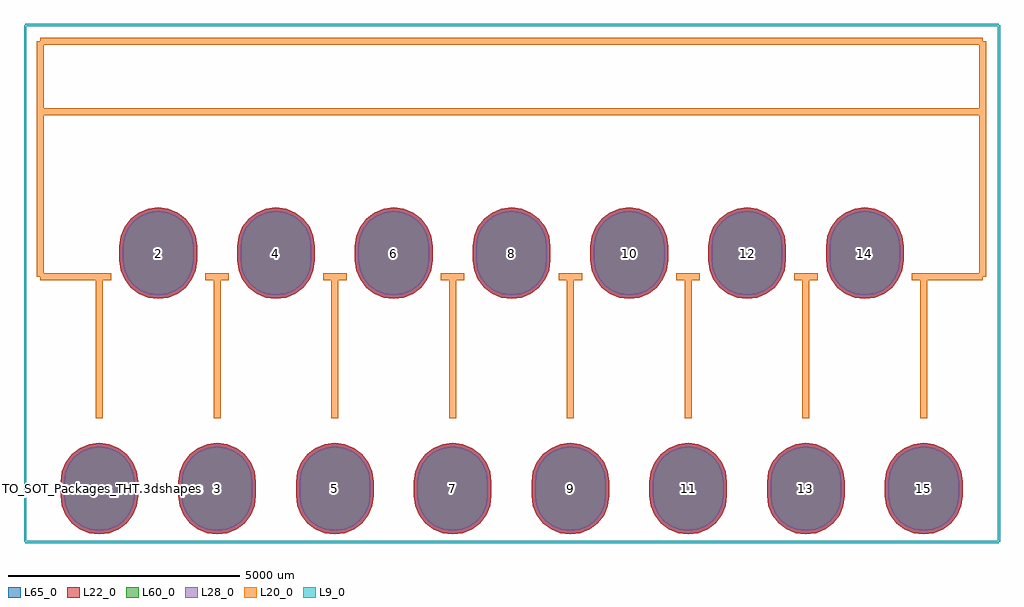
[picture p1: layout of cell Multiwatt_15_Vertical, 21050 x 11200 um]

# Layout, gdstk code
import gdstk
lib = gdstk.Library(unit=1e-6, precision=1e-09)
def P(c, l, *ps):  # polygons
    for p in ps: c.add(gdstk.Polygon(p, *l))
L9_0 = (9, 0)
L20_0 = (20, 0)
L22_0 = (22, 0)
L28_0 = (28, 0)
L60_0 = (60, 0)
L65_0 = (65, 0)

multiwatt_15_vertical = lib.new_cell('Multiwatt_15_Vertical')
P(multiwatt_15_vertical, L22_0, [(17780,-987),(17996.632,-958.48),(18198.5,-874.863),(18371.848,-741.848),(18504.863,-568.5),(18588.48,-366.632),(18617,-150),(18617,150),(18588.48,366.632),(18504.863,568.5),(18371.848,741.848),(18198.5,874.863),(17996.632,958.48),(17780,987),(17563.368,958.48),(17361.5,874.863),(17188.152,741.848),(17055.137,568.5),(16971.52,366.632),(16943,150),(16943,-150),(16971.52,-366.632),(17055.137,-568.5),(17188.152,-741.848),(17361.5,-874.863),(17563.368,-958.48)],
  [(16510,4093),(16726.632,4121.52),(16928.5,4205.137),(17101.848,4338.152),(17234.863,4511.5),(17318.48,4713.368),(17347,4930),(17347,5230),(17318.48,5446.632),(17234.863,5648.5),(17101.848,5821.848),(16928.5,5954.863),(16726.632,6038.48),(16510,6067),(16293.368,6038.48),(16091.5,5954.863),(15918.152,5821.848),(15785.137,5648.5),(15701.52,5446.632),(15673,5230),(15673,4930),(15701.52,4713.368),(15785.137,4511.5),(15918.152,4338.152),(16091.5,4205.137),(16293.368,4121.52)],
  [(15240,-987),(15456.632,-958.48),(15658.5,-874.863),(15831.848,-741.848),(15964.863,-568.5),(16048.48,-366.632),(16077,-150),(16077,150),(16048.48,366.632),(15964.863,568.5),(15831.848,741.848),(15658.5,874.863),(15456.632,958.48),(15240,987),(15023.368,958.48),(14821.5,874.863),(14648.152,741.848),(14515.137,568.5),(14431.52,366.632),(14403,150),(14403,-150),(14431.52,-366.632),(14515.137,-568.5),(14648.152,-741.848),(14821.5,-874.863),(15023.368,-958.48)],
  [(13970,4093),(14186.632,4121.52),(14388.5,4205.137),(14561.848,4338.152),(14694.863,4511.5),(14778.48,4713.368),(14807,4930),(14807,5230),(14778.48,5446.632),(14694.863,5648.5),(14561.848,5821.848),(14388.5,5954.863),(14186.632,6038.48),(13970,6067),(13753.368,6038.48),(13551.5,5954.863),(13378.152,5821.848),(13245.137,5648.5),(13161.52,5446.632),(13133,5230),(13133,4930),(13161.52,4713.368),(13245.137,4511.5),(13378.152,4338.152),(13551.5,4205.137),(13753.368,4121.52)],
  [(12700,-987),(12916.632,-958.48),(13118.5,-874.863),(13291.848,-741.848),(13424.863,-568.5),(13508.48,-366.632),(13537,-150),(13537,150),(13508.48,366.632),(13424.863,568.5),(13291.848,741.848),(13118.5,874.863),(12916.632,958.48),(12700,987),(12483.368,958.48),(12281.5,874.863),(12108.152,741.848),(11975.137,568.5),(11891.52,366.632),(11863,150),(11863,-150),(11891.52,-366.632),(11975.137,-568.5),(12108.152,-741.848),(12281.5,-874.863),(12483.368,-958.48)],
  [(11430,4093),(11646.632,4121.52),(11848.5,4205.137),(12021.848,4338.152),(12154.863,4511.5),(12238.48,4713.368),(12267,4930),(12267,5230),(12238.48,5446.632),(12154.863,5648.5),(12021.848,5821.848),(11848.5,5954.863),(11646.632,6038.48),(11430,6067),(11213.368,6038.48),(11011.5,5954.863),(10838.152,5821.848),(10705.137,5648.5),(10621.52,5446.632),(10593,5230),(10593,4930),(10621.52,4713.368),(10705.137,4511.5),(10838.152,4338.152),(11011.5,4205.137),(11213.368,4121.52)],
  [(10160,-987),(10376.632,-958.48),(10578.5,-874.863),(10751.848,-741.848),(10884.863,-568.5),(10968.48,-366.632),(10997,-150),(10997,150),(10968.48,366.632),(10884.863,568.5),(10751.848,741.848),(10578.5,874.863),(10376.632,958.48),(10160,987),(9943.368,958.48),(9741.5,874.863),(9568.152,741.848),(9435.137,568.5),(9351.52,366.632),(9323,150),(9323,-150),(9351.52,-366.632),(9435.137,-568.5),(9568.152,-741.848),(9741.5,-874.863),(9943.368,-958.48)],
  [(8890,4093),(9106.632,4121.52),(9308.5,4205.137),(9481.848,4338.152),(9614.863,4511.5),(9698.48,4713.368),(9727,4930),(9727,5230),(9698.48,5446.632),(9614.863,5648.5),(9481.848,5821.848),(9308.5,5954.863),(9106.632,6038.48),(8890,6067),(8673.368,6038.48),(8471.5,5954.863),(8298.152,5821.848),(8165.137,5648.5),(8081.52,5446.632),(8053,5230),(8053,4930),(8081.52,4713.368),(8165.137,4511.5),(8298.152,4338.152),(8471.5,4205.137),(8673.368,4121.52)],
  [(7620,-987),(7836.632,-958.48),(8038.5,-874.863),(8211.848,-741.848),(8344.863,-568.5),(8428.48,-366.632),(8457,-150),(8457,150),(8428.48,366.632),(8344.863,568.5),(8211.848,741.848),(8038.5,874.863),(7836.632,958.48),(7620,987),(7403.368,958.48),(7201.5,874.863),(7028.152,741.848),(6895.137,568.5),(6811.52,366.632),(6783,150),(6783,-150),(6811.52,-366.632),(6895.137,-568.5),(7028.152,-741.848),(7201.5,-874.863),(7403.368,-958.48)],
  [(6350,4093),(6566.632,4121.52),(6768.5,4205.137),(6941.848,4338.152),(7074.863,4511.5),(7158.48,4713.368),(7187,4930),(7187,5230),(7158.48,5446.632),(7074.863,5648.5),(6941.848,5821.848),(6768.5,5954.863),(6566.632,6038.48),(6350,6067),(6133.368,6038.48),(5931.5,5954.863),(5758.152,5821.848),(5625.137,5648.5),(5541.52,5446.632),(5513,5230),(5513,4930),(5541.52,4713.368),(5625.137,4511.5),(5758.152,4338.152),(5931.5,4205.137),(6133.368,4121.52)],
  [(5080,-987),(5296.632,-958.48),(5498.5,-874.863),(5671.848,-741.848),(5804.863,-568.5),(5888.48,-366.632),(5917,-150),(5917,150),(5888.48,366.632),(5804.863,568.5),(5671.848,741.848),(5498.5,874.863),(5296.632,958.48),(5080,987),(4863.368,958.48),(4661.5,874.863),(4488.152,741.848),(4355.137,568.5),(4271.52,366.632),(4243,150),(4243,-150),(4271.52,-366.632),(4355.137,-568.5),(4488.152,-741.848),(4661.5,-874.863),(4863.368,-958.48)],
  [(3810,4093),(4026.632,4121.52),(4228.5,4205.137),(4401.848,4338.152),(4534.863,4511.5),(4618.48,4713.368),(4647,4930),(4647,5230),(4618.48,5446.632),(4534.863,5648.5),(4401.848,5821.848),(4228.5,5954.863),(4026.632,6038.48),(3810,6067),(3593.368,6038.48),(3391.5,5954.863),(3218.152,5821.848),(3085.137,5648.5),(3001.52,5446.632),(2973,5230),(2973,4930),(3001.52,4713.368),(3085.137,4511.5),(3218.152,4338.152),(3391.5,4205.137),(3593.368,4121.52)],
  [(2540,-987),(2756.632,-958.48),(2958.5,-874.863),(3131.848,-741.848),(3264.863,-568.5),(3348.48,-366.632),(3377,-150),(3377,150),(3348.48,366.632),(3264.863,568.5),(3131.848,741.848),(2958.5,874.863),(2756.632,958.48),(2540,987),(2323.368,958.48),(2121.5,874.863),(1948.152,741.848),(1815.137,568.5),(1731.52,366.632),(1703,150),(1703,-150),(1731.52,-366.632),(1815.137,-568.5),(1948.152,-741.848),(2121.5,-874.863),(2323.368,-958.48)],
  [(1270,4093),(1486.632,4121.52),(1688.5,4205.137),(1861.848,4338.152),(1994.863,4511.5),(2078.48,4713.368),(2107,4930),(2107,5230),(2078.48,5446.632),(1994.863,5648.5),(1861.848,5821.848),(1688.5,5954.863),(1486.632,6038.48),(1270,6067),(1053.368,6038.48),(851.5,5954.863),(678.152,5821.848),(545.137,5648.5),(461.52,5446.632),(433,5230),(433,4930),(461.52,4713.368),(545.137,4511.5),(678.152,4338.152),(851.5,4205.137),(1053.368,4121.52)],
  [(0,-987),(216.632,-958.48),(418.5,-874.863),(591.848,-741.848),(724.863,-568.5),(808.48,-366.632),(837,-150),(837,150),(808.48,366.632),(724.863,568.5),(591.848,741.848),(418.5,874.863),(216.632,958.48),(0,987),(-216.632,958.48),(-418.5,874.863),(-591.848,741.848),(-724.863,568.5),(-808.48,366.632),(-837,150),(-837,-150),(-808.48,-366.632),(-724.863,-568.5),(-591.848,-741.848),(-418.5,-874.863),(-216.632,-958.48)])
P(multiwatt_15_vertical, L28_0, [(17780,-912),(17977.22,-886.035),(18161,-809.911),(18318.815,-688.815),(18439.911,-531),(18516.035,-347.22),(18542,-150),(18542,150),(18516.035,347.22),(18439.911,531),(18318.815,688.815),(18161,809.911),(17977.22,886.035),(17780,912),(17582.78,886.035),(17399,809.911),(17241.185,688.815),(17120.089,531),(17043.965,347.22),(17018,150),(17018,-150),(17043.965,-347.22),(17120.089,-531),(17241.185,-688.815),(17399,-809.911),(17582.78,-886.035)],
  [(16510,4168),(16707.22,4193.965),(16891,4270.089),(17048.815,4391.185),(17169.911,4549),(17246.035,4732.78),(17272,4930),(17272,5230),(17246.035,5427.22),(17169.911,5611),(17048.815,5768.815),(16891,5889.911),(16707.22,5966.035),(16510,5992),(16312.78,5966.035),(16129,5889.911),(15971.185,5768.815),(15850.089,5611),(15773.965,5427.22),(15748,5230),(15748,4930),(15773.965,4732.78),(15850.089,4549),(15971.185,4391.185),(16129,4270.089),(16312.78,4193.965)],
  [(15240,-912),(15437.22,-886.035),(15621,-809.911),(15778.815,-688.815),(15899.911,-531),(15976.035,-347.22),(16002,-150),(16002,150),(15976.035,347.22),(15899.911,531),(15778.815,688.815),(15621,809.911),(15437.22,886.035),(15240,912),(15042.78,886.035),(14859,809.911),(14701.185,688.815),(14580.089,531),(14503.965,347.22),(14478,150),(14478,-150),(14503.965,-347.22),(14580.089,-531),(14701.185,-688.815),(14859,-809.911),(15042.78,-886.035)],
  [(13970,4168),(14167.22,4193.965),(14351,4270.089),(14508.815,4391.185),(14629.911,4549),(14706.035,4732.78),(14732,4930),(14732,5230),(14706.035,5427.22),(14629.911,5611),(14508.815,5768.815),(14351,5889.911),(14167.22,5966.035),(13970,5992),(13772.78,5966.035),(13589,5889.911),(13431.185,5768.815),(13310.089,5611),(13233.965,5427.22),(13208,5230),(13208,4930),(13233.965,4732.78),(13310.089,4549),(13431.185,4391.185),(13589,4270.089),(13772.78,4193.965)],
  [(12700,-912),(12897.22,-886.035),(13081,-809.911),(13238.815,-688.815),(13359.911,-531),(13436.035,-347.22),(13462,-150),(13462,150),(13436.035,347.22),(13359.911,531),(13238.815,688.815),(13081,809.911),(12897.22,886.035),(12700,912),(12502.78,886.035),(12319,809.911),(12161.185,688.815),(12040.089,531),(11963.965,347.22),(11938,150),(11938,-150),(11963.965,-347.22),(12040.089,-531),(12161.185,-688.815),(12319,-809.911),(12502.78,-886.035)],
  [(11430,4168),(11627.22,4193.965),(11811,4270.089),(11968.815,4391.185),(12089.911,4549),(12166.035,4732.78),(12192,4930),(12192,5230),(12166.035,5427.22),(12089.911,5611),(11968.815,5768.815),(11811,5889.911),(11627.22,5966.035),(11430,5992),(11232.78,5966.035),(11049,5889.911),(10891.185,5768.815),(10770.089,5611),(10693.965,5427.22),(10668,5230),(10668,4930),(10693.965,4732.78),(10770.089,4549),(10891.185,4391.185),(11049,4270.089),(11232.78,4193.965)],
  [(10160,-912),(10357.22,-886.035),(10541,-809.911),(10698.815,-688.815),(10819.911,-531),(10896.035,-347.22),(10922,-150),(10922,150),(10896.035,347.22),(10819.911,531),(10698.815,688.815),(10541,809.911),(10357.22,886.035),(10160,912),(9962.78,886.035),(9779,809.911),(9621.185,688.815),(9500.089,531),(9423.965,347.22),(9398,150),(9398,-150),(9423.965,-347.22),(9500.089,-531),(9621.185,-688.815),(9779,-809.911),(9962.78,-886.035)],
  [(8890,4168),(9087.22,4193.965),(9271,4270.089),(9428.815,4391.185),(9549.911,4549),(9626.035,4732.78),(9652,4930),(9652,5230),(9626.035,5427.22),(9549.911,5611),(9428.815,5768.815),(9271,5889.911),(9087.22,5966.035),(8890,5992),(8692.78,5966.035),(8509,5889.911),(8351.185,5768.815),(8230.089,5611),(8153.965,5427.22),(8128,5230),(8128,4930),(8153.965,4732.78),(8230.089,4549),(8351.185,4391.185),(8509,4270.089),(8692.78,4193.965)],
  [(7620,-912),(7817.22,-886.035),(8001,-809.911),(8158.815,-688.815),(8279.911,-531),(8356.035,-347.22),(8382,-150),(8382,150),(8356.035,347.22),(8279.911,531),(8158.815,688.815),(8001,809.911),(7817.22,886.035),(7620,912),(7422.78,886.035),(7239,809.911),(7081.185,688.815),(6960.089,531),(6883.965,347.22),(6858,150),(6858,-150),(6883.965,-347.22),(6960.089,-531),(7081.185,-688.815),(7239,-809.911),(7422.78,-886.035)],
  [(6350,4168),(6547.22,4193.965),(6731,4270.089),(6888.815,4391.185),(7009.911,4549),(7086.035,4732.78),(7112,4930),(7112,5230),(7086.035,5427.22),(7009.911,5611),(6888.815,5768.815),(6731,5889.911),(6547.22,5966.035),(6350,5992),(6152.78,5966.035),(5969,5889.911),(5811.185,5768.815),(5690.089,5611),(5613.965,5427.22),(5588,5230),(5588,4930),(5613.965,4732.78),(5690.089,4549),(5811.185,4391.185),(5969,4270.089),(6152.78,4193.965)],
  [(5080,-912),(5277.22,-886.035),(5461,-809.911),(5618.815,-688.815),(5739.911,-531),(5816.035,-347.22),(5842,-150),(5842,150),(5816.035,347.22),(5739.911,531),(5618.815,688.815),(5461,809.911),(5277.22,886.035),(5080,912),(4882.78,886.035),(4699,809.911),(4541.185,688.815),(4420.089,531),(4343.965,347.22),(4318,150),(4318,-150),(4343.965,-347.22),(4420.089,-531),(4541.185,-688.815),(4699,-809.911),(4882.78,-886.035)],
  [(3810,4168),(4007.22,4193.965),(4191,4270.089),(4348.815,4391.185),(4469.911,4549),(4546.035,4732.78),(4572,4930),(4572,5230),(4546.035,5427.22),(4469.911,5611),(4348.815,5768.815),(4191,5889.911),(4007.22,5966.035),(3810,5992),(3612.78,5966.035),(3429,5889.911),(3271.185,5768.815),(3150.089,5611),(3073.965,5427.22),(3048,5230),(3048,4930),(3073.965,4732.78),(3150.089,4549),(3271.185,4391.185),(3429,4270.089),(3612.78,4193.965)],
  [(2540,-912),(2737.22,-886.035),(2921,-809.911),(3078.815,-688.815),(3199.911,-531),(3276.035,-347.22),(3302,-150),(3302,150),(3276.035,347.22),(3199.911,531),(3078.815,688.815),(2921,809.911),(2737.22,886.035),(2540,912),(2342.78,886.035),(2159,809.911),(2001.185,688.815),(1880.089,531),(1803.965,347.22),(1778,150),(1778,-150),(1803.965,-347.22),(1880.089,-531),(2001.185,-688.815),(2159,-809.911),(2342.78,-886.035)],
  [(1270,4168),(1467.22,4193.965),(1651,4270.089),(1808.815,4391.185),(1929.911,4549),(2006.035,4732.78),(2032,4930),(2032,5230),(2006.035,5427.22),(1929.911,5611),(1808.815,5768.815),(1651,5889.911),(1467.22,5966.035),(1270,5992),(1072.78,5966.035),(889,5889.911),(731.185,5768.815),(610.089,5611),(533.965,5427.22),(508,5230),(508,4930),(533.965,4732.78),(610.089,4549),(731.185,4391.185),(889,4270.089),(1072.78,4193.965)],
  [(0,-912),(197.22,-886.035),(381,-809.911),(538.815,-688.815),(659.911,-531),(736.035,-347.22),(762,-150),(762,150),(736.035,347.22),(659.911,531),(538.815,688.815),(381,809.911),(197.22,886.035),(0,912),(-197.22,886.035),(-381,809.911),(-538.815,688.815),(-659.911,531),(-736.035,347.22),(-762,150),(-762,-150),(-736.035,-347.22),(-659.911,-531),(-538.815,-688.815),(-381,-809.911),(-197.22,-886.035)])
P(multiwatt_15_vertical, L60_0, [(17780,-912),(17977.22,-886.035),(18161,-809.911),(18318.815,-688.815),(18439.911,-531),(18516.035,-347.22),(18542,-150),(18542,150),(18516.035,347.22),(18439.911,531),(18318.815,688.815),(18161,809.911),(17977.22,886.035),(17780,912),(17582.78,886.035),(17399,809.911),(17241.185,688.815),(17120.089,531),(17043.965,347.22),(17018,150),(17018,-150),(17043.965,-347.22),(17120.089,-531),(17241.185,-688.815),(17399,-809.911),(17582.78,-886.035)],
  [(16510,4168),(16707.22,4193.965),(16891,4270.089),(17048.815,4391.185),(17169.911,4549),(17246.035,4732.78),(17272,4930),(17272,5230),(17246.035,5427.22),(17169.911,5611),(17048.815,5768.815),(16891,5889.911),(16707.22,5966.035),(16510,5992),(16312.78,5966.035),(16129,5889.911),(15971.185,5768.815),(15850.089,5611),(15773.965,5427.22),(15748,5230),(15748,4930),(15773.965,4732.78),(15850.089,4549),(15971.185,4391.185),(16129,4270.089),(16312.78,4193.965)],
  [(15240,-912),(15437.22,-886.035),(15621,-809.911),(15778.815,-688.815),(15899.911,-531),(15976.035,-347.22),(16002,-150),(16002,150),(15976.035,347.22),(15899.911,531),(15778.815,688.815),(15621,809.911),(15437.22,886.035),(15240,912),(15042.78,886.035),(14859,809.911),(14701.185,688.815),(14580.089,531),(14503.965,347.22),(14478,150),(14478,-150),(14503.965,-347.22),(14580.089,-531),(14701.185,-688.815),(14859,-809.911),(15042.78,-886.035)],
  [(13970,4168),(14167.22,4193.965),(14351,4270.089),(14508.815,4391.185),(14629.911,4549),(14706.035,4732.78),(14732,4930),(14732,5230),(14706.035,5427.22),(14629.911,5611),(14508.815,5768.815),(14351,5889.911),(14167.22,5966.035),(13970,5992),(13772.78,5966.035),(13589,5889.911),(13431.185,5768.815),(13310.089,5611),(13233.965,5427.22),(13208,5230),(13208,4930),(13233.965,4732.78),(13310.089,4549),(13431.185,4391.185),(13589,4270.089),(13772.78,4193.965)],
  [(12700,-912),(12897.22,-886.035),(13081,-809.911),(13238.815,-688.815),(13359.911,-531),(13436.035,-347.22),(13462,-150),(13462,150),(13436.035,347.22),(13359.911,531),(13238.815,688.815),(13081,809.911),(12897.22,886.035),(12700,912),(12502.78,886.035),(12319,809.911),(12161.185,688.815),(12040.089,531),(11963.965,347.22),(11938,150),(11938,-150),(11963.965,-347.22),(12040.089,-531),(12161.185,-688.815),(12319,-809.911),(12502.78,-886.035)],
  [(11430,4168),(11627.22,4193.965),(11811,4270.089),(11968.815,4391.185),(12089.911,4549),(12166.035,4732.78),(12192,4930),(12192,5230),(12166.035,5427.22),(12089.911,5611),(11968.815,5768.815),(11811,5889.911),(11627.22,5966.035),(11430,5992),(11232.78,5966.035),(11049,5889.911),(10891.185,5768.815),(10770.089,5611),(10693.965,5427.22),(10668,5230),(10668,4930),(10693.965,4732.78),(10770.089,4549),(10891.185,4391.185),(11049,4270.089),(11232.78,4193.965)],
  [(10160,-912),(10357.22,-886.035),(10541,-809.911),(10698.815,-688.815),(10819.911,-531),(10896.035,-347.22),(10922,-150),(10922,150),(10896.035,347.22),(10819.911,531),(10698.815,688.815),(10541,809.911),(10357.22,886.035),(10160,912),(9962.78,886.035),(9779,809.911),(9621.185,688.815),(9500.089,531),(9423.965,347.22),(9398,150),(9398,-150),(9423.965,-347.22),(9500.089,-531),(9621.185,-688.815),(9779,-809.911),(9962.78,-886.035)],
  [(8890,4168),(9087.22,4193.965),(9271,4270.089),(9428.815,4391.185),(9549.911,4549),(9626.035,4732.78),(9652,4930),(9652,5230),(9626.035,5427.22),(9549.911,5611),(9428.815,5768.815),(9271,5889.911),(9087.22,5966.035),(8890,5992),(8692.78,5966.035),(8509,5889.911),(8351.185,5768.815),(8230.089,5611),(8153.965,5427.22),(8128,5230),(8128,4930),(8153.965,4732.78),(8230.089,4549),(8351.185,4391.185),(8509,4270.089),(8692.78,4193.965)],
  [(7620,-912),(7817.22,-886.035),(8001,-809.911),(8158.815,-688.815),(8279.911,-531),(8356.035,-347.22),(8382,-150),(8382,150),(8356.035,347.22),(8279.911,531),(8158.815,688.815),(8001,809.911),(7817.22,886.035),(7620,912),(7422.78,886.035),(7239,809.911),(7081.185,688.815),(6960.089,531),(6883.965,347.22),(6858,150),(6858,-150),(6883.965,-347.22),(6960.089,-531),(7081.185,-688.815),(7239,-809.911),(7422.78,-886.035)],
  [(6350,4168),(6547.22,4193.965),(6731,4270.089),(6888.815,4391.185),(7009.911,4549),(7086.035,4732.78),(7112,4930),(7112,5230),(7086.035,5427.22),(7009.911,5611),(6888.815,5768.815),(6731,5889.911),(6547.22,5966.035),(6350,5992),(6152.78,5966.035),(5969,5889.911),(5811.185,5768.815),(5690.089,5611),(5613.965,5427.22),(5588,5230),(5588,4930),(5613.965,4732.78),(5690.089,4549),(5811.185,4391.185),(5969,4270.089),(6152.78,4193.965)],
  [(5080,-912),(5277.22,-886.035),(5461,-809.911),(5618.815,-688.815),(5739.911,-531),(5816.035,-347.22),(5842,-150),(5842,150),(5816.035,347.22),(5739.911,531),(5618.815,688.815),(5461,809.911),(5277.22,886.035),(5080,912),(4882.78,886.035),(4699,809.911),(4541.185,688.815),(4420.089,531),(4343.965,347.22),(4318,150),(4318,-150),(4343.965,-347.22),(4420.089,-531),(4541.185,-688.815),(4699,-809.911),(4882.78,-886.035)],
  [(3810,4168),(4007.22,4193.965),(4191,4270.089),(4348.815,4391.185),(4469.911,4549),(4546.035,4732.78),(4572,4930),(4572,5230),(4546.035,5427.22),(4469.911,5611),(4348.815,5768.815),(4191,5889.911),(4007.22,5966.035),(3810,5992),(3612.78,5966.035),(3429,5889.911),(3271.185,5768.815),(3150.089,5611),(3073.965,5427.22),(3048,5230),(3048,4930),(3073.965,4732.78),(3150.089,4549),(3271.185,4391.185),(3429,4270.089),(3612.78,4193.965)],
  [(2540,-912),(2737.22,-886.035),(2921,-809.911),(3078.815,-688.815),(3199.911,-531),(3276.035,-347.22),(3302,-150),(3302,150),(3276.035,347.22),(3199.911,531),(3078.815,688.815),(2921,809.911),(2737.22,886.035),(2540,912),(2342.78,886.035),(2159,809.911),(2001.185,688.815),(1880.089,531),(1803.965,347.22),(1778,150),(1778,-150),(1803.965,-347.22),(1880.089,-531),(2001.185,-688.815),(2159,-809.911),(2342.78,-886.035)],
  [(1270,4168),(1467.22,4193.965),(1651,4270.089),(1808.815,4391.185),(1929.911,4549),(2006.035,4732.78),(2032,4930),(2032,5230),(2006.035,5427.22),(1929.911,5611),(1808.815,5768.815),(1651,5889.911),(1467.22,5966.035),(1270,5992),(1072.78,5966.035),(889,5889.911),(731.185,5768.815),(610.089,5611),(533.965,5427.22),(508,5230),(508,4930),(533.965,4732.78),(610.089,4549),(731.185,4391.185),(889,4270.089),(1072.78,4193.965)],
  [(0,-912),(197.22,-886.035),(381,-809.911),(538.815,-688.815),(659.911,-531),(736.035,-347.22),(762,-150),(762,150),(736.035,347.22),(659.911,531),(538.815,688.815),(381,809.911),(197.22,886.035),(0,912),(-197.22,886.035),(-381,809.911),(-538.815,688.815),(-659.911,531),(-736.035,347.22),(-762,150),(-762,-150),(-736.035,-347.22),(-659.911,-531),(-538.815,-688.815),(-381,-809.911),(-197.22,-886.035)])
P(multiwatt_15_vertical, L65_0, [(17780,-987),(17996.632,-958.48),(18198.5,-874.863),(18371.848,-741.848),(18504.863,-568.5),(18588.48,-366.632),(18617,-150),(18617,150),(18588.48,366.632),(18504.863,568.5),(18371.848,741.848),(18198.5,874.863),(17996.632,958.48),(17780,987),(17563.368,958.48),(17361.5,874.863),(17188.152,741.848),(17055.137,568.5),(16971.52,366.632),(16943,150),(16943,-150),(16971.52,-366.632),(17055.137,-568.5),(17188.152,-741.848),(17361.5,-874.863),(17563.368,-958.48)],
  [(16510,4093),(16726.632,4121.52),(16928.5,4205.137),(17101.848,4338.152),(17234.863,4511.5),(17318.48,4713.368),(17347,4930),(17347,5230),(17318.48,5446.632),(17234.863,5648.5),(17101.848,5821.848),(16928.5,5954.863),(16726.632,6038.48),(16510,6067),(16293.368,6038.48),(16091.5,5954.863),(15918.152,5821.848),(15785.137,5648.5),(15701.52,5446.632),(15673,5230),(15673,4930),(15701.52,4713.368),(15785.137,4511.5),(15918.152,4338.152),(16091.5,4205.137),(16293.368,4121.52)],
  [(15240,-987),(15456.632,-958.48),(15658.5,-874.863),(15831.848,-741.848),(15964.863,-568.5),(16048.48,-366.632),(16077,-150),(16077,150),(16048.48,366.632),(15964.863,568.5),(15831.848,741.848),(15658.5,874.863),(15456.632,958.48),(15240,987),(15023.368,958.48),(14821.5,874.863),(14648.152,741.848),(14515.137,568.5),(14431.52,366.632),(14403,150),(14403,-150),(14431.52,-366.632),(14515.137,-568.5),(14648.152,-741.848),(14821.5,-874.863),(15023.368,-958.48)],
  [(13970,4093),(14186.632,4121.52),(14388.5,4205.137),(14561.848,4338.152),(14694.863,4511.5),(14778.48,4713.368),(14807,4930),(14807,5230),(14778.48,5446.632),(14694.863,5648.5),(14561.848,5821.848),(14388.5,5954.863),(14186.632,6038.48),(13970,6067),(13753.368,6038.48),(13551.5,5954.863),(13378.152,5821.848),(13245.137,5648.5),(13161.52,5446.632),(13133,5230),(13133,4930),(13161.52,4713.368),(13245.137,4511.5),(13378.152,4338.152),(13551.5,4205.137),(13753.368,4121.52)],
  [(12700,-987),(12916.632,-958.48),(13118.5,-874.863),(13291.848,-741.848),(13424.863,-568.5),(13508.48,-366.632),(13537,-150),(13537,150),(13508.48,366.632),(13424.863,568.5),(13291.848,741.848),(13118.5,874.863),(12916.632,958.48),(12700,987),(12483.368,958.48),(12281.5,874.863),(12108.152,741.848),(11975.137,568.5),(11891.52,366.632),(11863,150),(11863,-150),(11891.52,-366.632),(11975.137,-568.5),(12108.152,-741.848),(12281.5,-874.863),(12483.368,-958.48)],
  [(11430,4093),(11646.632,4121.52),(11848.5,4205.137),(12021.848,4338.152),(12154.863,4511.5),(12238.48,4713.368),(12267,4930),(12267,5230),(12238.48,5446.632),(12154.863,5648.5),(12021.848,5821.848),(11848.5,5954.863),(11646.632,6038.48),(11430,6067),(11213.368,6038.48),(11011.5,5954.863),(10838.152,5821.848),(10705.137,5648.5),(10621.52,5446.632),(10593,5230),(10593,4930),(10621.52,4713.368),(10705.137,4511.5),(10838.152,4338.152),(11011.5,4205.137),(11213.368,4121.52)],
  [(10160,-987),(10376.632,-958.48),(10578.5,-874.863),(10751.848,-741.848),(10884.863,-568.5),(10968.48,-366.632),(10997,-150),(10997,150),(10968.48,366.632),(10884.863,568.5),(10751.848,741.848),(10578.5,874.863),(10376.632,958.48),(10160,987),(9943.368,958.48),(9741.5,874.863),(9568.152,741.848),(9435.137,568.5),(9351.52,366.632),(9323,150),(9323,-150),(9351.52,-366.632),(9435.137,-568.5),(9568.152,-741.848),(9741.5,-874.863),(9943.368,-958.48)],
  [(8890,4093),(9106.632,4121.52),(9308.5,4205.137),(9481.848,4338.152),(9614.863,4511.5),(9698.48,4713.368),(9727,4930),(9727,5230),(9698.48,5446.632),(9614.863,5648.5),(9481.848,5821.848),(9308.5,5954.863),(9106.632,6038.48),(8890,6067),(8673.368,6038.48),(8471.5,5954.863),(8298.152,5821.848),(8165.137,5648.5),(8081.52,5446.632),(8053,5230),(8053,4930),(8081.52,4713.368),(8165.137,4511.5),(8298.152,4338.152),(8471.5,4205.137),(8673.368,4121.52)],
  [(7620,-987),(7836.632,-958.48),(8038.5,-874.863),(8211.848,-741.848),(8344.863,-568.5),(8428.48,-366.632),(8457,-150),(8457,150),(8428.48,366.632),(8344.863,568.5),(8211.848,741.848),(8038.5,874.863),(7836.632,958.48),(7620,987),(7403.368,958.48),(7201.5,874.863),(7028.152,741.848),(6895.137,568.5),(6811.52,366.632),(6783,150),(6783,-150),(6811.52,-366.632),(6895.137,-568.5),(7028.152,-741.848),(7201.5,-874.863),(7403.368,-958.48)],
  [(6350,4093),(6566.632,4121.52),(6768.5,4205.137),(6941.848,4338.152),(7074.863,4511.5),(7158.48,4713.368),(7187,4930),(7187,5230),(7158.48,5446.632),(7074.863,5648.5),(6941.848,5821.848),(6768.5,5954.863),(6566.632,6038.48),(6350,6067),(6133.368,6038.48),(5931.5,5954.863),(5758.152,5821.848),(5625.137,5648.5),(5541.52,5446.632),(5513,5230),(5513,4930),(5541.52,4713.368),(5625.137,4511.5),(5758.152,4338.152),(5931.5,4205.137),(6133.368,4121.52)],
  [(5080,-987),(5296.632,-958.48),(5498.5,-874.863),(5671.848,-741.848),(5804.863,-568.5),(5888.48,-366.632),(5917,-150),(5917,150),(5888.48,366.632),(5804.863,568.5),(5671.848,741.848),(5498.5,874.863),(5296.632,958.48),(5080,987),(4863.368,958.48),(4661.5,874.863),(4488.152,741.848),(4355.137,568.5),(4271.52,366.632),(4243,150),(4243,-150),(4271.52,-366.632),(4355.137,-568.5),(4488.152,-741.848),(4661.5,-874.863),(4863.368,-958.48)],
  [(3810,4093),(4026.632,4121.52),(4228.5,4205.137),(4401.848,4338.152),(4534.863,4511.5),(4618.48,4713.368),(4647,4930),(4647,5230),(4618.48,5446.632),(4534.863,5648.5),(4401.848,5821.848),(4228.5,5954.863),(4026.632,6038.48),(3810,6067),(3593.368,6038.48),(3391.5,5954.863),(3218.152,5821.848),(3085.137,5648.5),(3001.52,5446.632),(2973,5230),(2973,4930),(3001.52,4713.368),(3085.137,4511.5),(3218.152,4338.152),(3391.5,4205.137),(3593.368,4121.52)],
  [(2540,-987),(2756.632,-958.48),(2958.5,-874.863),(3131.848,-741.848),(3264.863,-568.5),(3348.48,-366.632),(3377,-150),(3377,150),(3348.48,366.632),(3264.863,568.5),(3131.848,741.848),(2958.5,874.863),(2756.632,958.48),(2540,987),(2323.368,958.48),(2121.5,874.863),(1948.152,741.848),(1815.137,568.5),(1731.52,366.632),(1703,150),(1703,-150),(1731.52,-366.632),(1815.137,-568.5),(1948.152,-741.848),(2121.5,-874.863),(2323.368,-958.48)],
  [(1270,4093),(1486.632,4121.52),(1688.5,4205.137),(1861.848,4338.152),(1994.863,4511.5),(2078.48,4713.368),(2107,4930),(2107,5230),(2078.48,5446.632),(1994.863,5648.5),(1861.848,5821.848),(1688.5,5954.863),(1486.632,6038.48),(1270,6067),(1053.368,6038.48),(851.5,5954.863),(678.152,5821.848),(545.137,5648.5),(461.52,5446.632),(433,5230),(433,4930),(461.52,4713.368),(545.137,4511.5),(678.152,4338.152),(851.5,4205.137),(1053.368,4121.52)],
  [(0,-987),(216.632,-958.48),(418.5,-874.863),(591.848,-741.848),(724.863,-568.5),(808.48,-366.632),(837,-150),(837,150),(808.48,366.632),(724.863,568.5),(591.848,741.848),(418.5,874.863),(216.632,958.48),(0,987),(-216.632,958.48),(-418.5,874.863),(-591.848,741.848),(-724.863,568.5),(-808.48,366.632),(-837,150),(-837,-150),(-808.48,-366.632),(-724.863,-568.5),(-591.848,-741.848),(-418.5,-874.863),(-216.632,-958.48)])
multiwatt_15_vertical.add(gdstk.FlexPath([(19050,4572),(17526,4572)], 149.998, ends="flush", simple_path=True, layer=20, datatype=0))  # L20_0
multiwatt_15_vertical.add(gdstk.FlexPath([(19050,9652),(19050,4572)], 149.998, ends="flush", simple_path=True, layer=20, datatype=0))  # L20_0
multiwatt_15_vertical.add(gdstk.FlexPath([(-1270,9652),(19050,9652)], 149.998, ends="flush", simple_path=True, layer=20, datatype=0))  # L20_0
multiwatt_15_vertical.add(gdstk.FlexPath([(15494,4572),(14986,4572)], 149.998, ends="flush", simple_path=True, layer=20, datatype=0))  # L20_0
multiwatt_15_vertical.add(gdstk.FlexPath([(12954,4572),(12446,4572)], 149.998, ends="flush", simple_path=True, layer=20, datatype=0))  # L20_0
multiwatt_15_vertical.add(gdstk.FlexPath([(10414,4572),(9906,4572)], 149.998, ends="flush", simple_path=True, layer=20, datatype=0))  # L20_0
multiwatt_15_vertical.add(gdstk.FlexPath([(7874,4572),(7366,4572)], 149.998, ends="flush", simple_path=True, layer=20, datatype=0))  # L20_0
multiwatt_15_vertical.add(gdstk.FlexPath([(5334,4572),(4826,4572)], 149.998, ends="flush", simple_path=True, layer=20, datatype=0))  # L20_0
multiwatt_15_vertical.add(gdstk.FlexPath([(2794,4572),(2286,4572)], 149.998, ends="flush", simple_path=True, layer=20, datatype=0))  # L20_0
multiwatt_15_vertical.add(gdstk.FlexPath([(-1270,4572),(254,4572)], 149.998, ends="flush", simple_path=True, layer=20, datatype=0))  # L20_0
multiwatt_15_vertical.add(gdstk.FlexPath([(-1270,9652),(-1270,4572)], 149.998, ends="flush", simple_path=True, layer=20, datatype=0))  # L20_0
multiwatt_15_vertical.add(gdstk.FlexPath([(19050,8128),(-1270,8128)], 149.998, ends="flush", simple_path=True, layer=20, datatype=0))  # L20_0
multiwatt_15_vertical.add(gdstk.FlexPath([(0,1524),(0,4572)], 149.998, ends="flush", simple_path=True, layer=20, datatype=0))  # L20_0
multiwatt_15_vertical.add(gdstk.FlexPath([(2540,1524),(2540,4572)], 149.998, ends="flush", simple_path=True, layer=20, datatype=0))  # L20_0
multiwatt_15_vertical.add(gdstk.FlexPath([(5080,1524),(5080,4572)], 149.998, ends="flush", simple_path=True, layer=20, datatype=0))  # L20_0
multiwatt_15_vertical.add(gdstk.FlexPath([(7620,1524),(7620,4572)], 149.998, ends="flush", simple_path=True, layer=20, datatype=0))  # L20_0
multiwatt_15_vertical.add(gdstk.FlexPath([(10160,1524),(10160,4572)], 149.998, ends="flush", simple_path=True, layer=20, datatype=0))  # L20_0
multiwatt_15_vertical.add(gdstk.FlexPath([(12700,1524),(12700,4572)], 149.998, ends="flush", simple_path=True, layer=20, datatype=0))  # L20_0
multiwatt_15_vertical.add(gdstk.FlexPath([(15240,1524),(15240,4572)], 149.998, ends="flush", simple_path=True, layer=20, datatype=0))  # L20_0
multiwatt_15_vertical.add(gdstk.FlexPath([(17780,1524),(17780,4572)], 149.998, ends="flush", simple_path=True, layer=20, datatype=0))  # L20_0
multiwatt_15_vertical.add(gdstk.FlexPath([(19400,10000),(19400,-1150)], 50, ends="flush", simple_path=True, layer=9, datatype=0))  # L9_0
multiwatt_15_vertical.add(gdstk.FlexPath([(-1600,10000),(19400,10000)], 50, ends="flush", simple_path=True, layer=9, datatype=0))  # L9_0
multiwatt_15_vertical.add(gdstk.FlexPath([(-1600,-1150),(-1600,10000)], 50, ends="flush", simple_path=True, layer=9, datatype=0))  # L9_0
multiwatt_15_vertical.add(gdstk.FlexPath([(19400,-1150),(-1600,-1150)], 50, ends="flush", simple_path=True, layer=9, datatype=0))  # L9_0
multiwatt_15_vertical.add(gdstk.Label('TO_SOT_Packages_THT.3dshapes/Multiwatt_15_Vertical.wrl', (0,0), layer=12, texttype=0))
multiwatt_15_vertical.add(gdstk.Label('15', (17780,0), layer=28, texttype=0))
multiwatt_15_vertical.add(gdstk.Label('14', (16510,5080), layer=28, texttype=0))
multiwatt_15_vertical.add(gdstk.Label('13', (15240,0), layer=28, texttype=0))
multiwatt_15_vertical.add(gdstk.Label('12', (13970,5080), layer=28, texttype=0))
multiwatt_15_vertical.add(gdstk.Label('11', (12700,0), layer=28, texttype=0))
multiwatt_15_vertical.add(gdstk.Label('10', (11430,5080), layer=28, texttype=0))
multiwatt_15_vertical.add(gdstk.Label('9', (10160,0), layer=28, texttype=0))
multiwatt_15_vertical.add(gdstk.Label('8', (8890,5080), layer=28, texttype=0))
multiwatt_15_vertical.add(gdstk.Label('7', (7620,0), layer=28, texttype=0))
multiwatt_15_vertical.add(gdstk.Label('6', (6350,5080), layer=28, texttype=0))
multiwatt_15_vertical.add(gdstk.Label('5', (5080,0), layer=28, texttype=0))
multiwatt_15_vertical.add(gdstk.Label('4', (3810,5080), layer=28, texttype=0))
multiwatt_15_vertical.add(gdstk.Label('3', (2540,0), layer=28, texttype=0))
multiwatt_15_vertical.add(gdstk.Label('2', (1270,5080), layer=28, texttype=0))
multiwatt_15_vertical.add(gdstk.Label('1', (0,0), layer=28, texttype=0))
multiwatt_15_vertical.add(gdstk.Label('type', (21844,3048), layer=9, texttype=0))
multiwatt_15_vertical.add(gdstk.Label('devicename', (8636,10668), layer=9, texttype=0))

lib.write_gds('Multiwatt_15_Vertical.gds')
